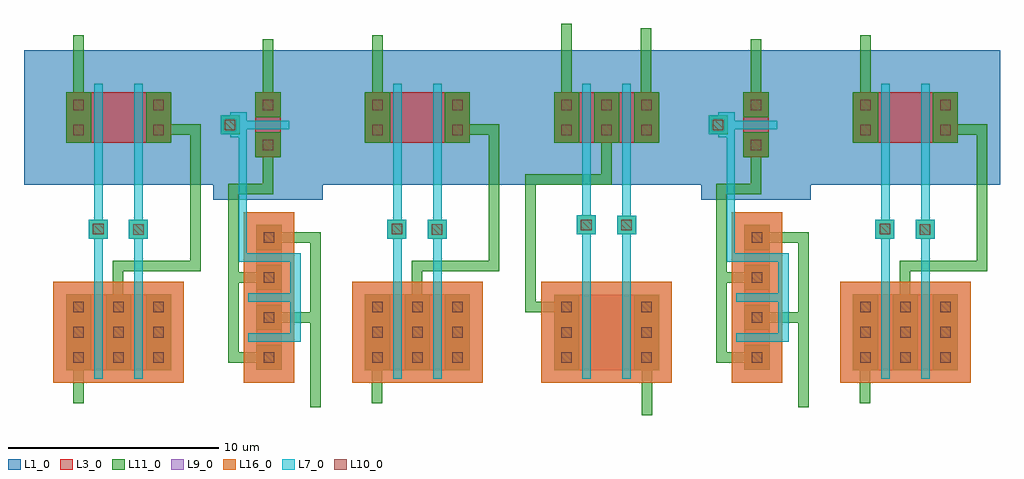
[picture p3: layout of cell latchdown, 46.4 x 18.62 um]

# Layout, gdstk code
from math import pi, radians
import gdstk
lib = gdstk.Library(unit=1e-6, precision=1e-09)
def R(c, l, rs):  # rectangles x0, y0, x1, y1
    for r in rs: c.add(gdstk.rectangle(r[:2], r[2:], *l))
L1_0 = (1, 0)
L3_0 = (3, 0)
L7_0 = (7, 0)
L9_0 = (9, 0)
L10_0 = (10, 0)
L11_0 = (11, 0)
L16_0 = (16, 0)

dcont = lib.new_cell('dcont')
R(dcont, L3_0, [(-0.6,-0.6,0.6,0.6)])
R(dcont, L10_0, [(-0.25,-0.25,0.25,0.25)])

nch_5 = lib.new_cell('Nch$5')
R(nch_5, L1_0, [(-2,-0.3,7,6.1)])
R(nch_5, L3_0, [(0,1.7,5,4.1)])
nch_5.add(gdstk.FlexPath([(0.6,1.7),(0.6,4.1)], 1.2, ends="flush", simple_path=True, layer=11, datatype=0))  # L11_0
nch_5.add(gdstk.FlexPath([(2.5,1.7),(2.5,4.1)], 1.2, ends="flush", simple_path=True, layer=11, datatype=0))  # L11_0
nch_5.add(gdstk.FlexPath([(4.4,1.7),(4.4,4.1)], 1.2, ends="flush", simple_path=True, layer=11, datatype=0))  # L11_0
nch_5.add(gdstk.FlexPath([(1.55,1.7),(1.55,4.1)], 0.4, ends=(0.4, 0.4), simple_path=True, layer=7, datatype=0))  # L7_0
nch_5.add(gdstk.FlexPath([(3.45,1.7),(3.45,4.1)], 0.4, ends=(0.4, 0.4), simple_path=True, layer=7, datatype=0))  # L7_0
nch_5.add(gdstk.Reference(dcont, (0.6,2.3)))
nch_5.add(gdstk.Reference(dcont, (0.6,3.5)))
nch_5.add(gdstk.Reference(dcont, (2.5,2.3)))
nch_5.add(gdstk.Reference(dcont, (2.5,3.5)))
nch_5.add(gdstk.Reference(dcont, (4.4,2.3)))
nch_5.add(gdstk.Reference(dcont, (4.4,3.5)))

pch_2 = lib.new_cell('Pch$2')
R(pch_2, L3_0, [(0,1.7,5,5.3)])
R(pch_2, L9_0, [(-0.6,1.1,5.6,5.9)])
R(pch_2, L16_0, [(-0.6,1.1,5.6,5.9)])
pch_2.add(gdstk.FlexPath([(0.6,1.7),(0.6,5.3)], 1.2, ends="flush", simple_path=True, layer=11, datatype=0))  # L11_0
pch_2.add(gdstk.FlexPath([(4.4,1.7),(4.4,5.3)], 1.2, ends="flush", simple_path=True, layer=11, datatype=0))  # L11_0
pch_2.add(gdstk.FlexPath([(1.55,1.7),(1.55,5.3)], 0.4, ends=(0.4, 0.4), simple_path=True, layer=7, datatype=0))  # L7_0
pch_2.add(gdstk.FlexPath([(3.45,1.7),(3.45,5.3)], 0.4, ends=(0.4, 0.4), simple_path=True, layer=7, datatype=0))  # L7_0
pch_2.add(gdstk.Reference(dcont, (0.6,2.3)))
pch_2.add(gdstk.Reference(dcont, (0.6,3.5)))
pch_2.add(gdstk.Reference(dcont, (0.6,4.7)))
pch_2.add(gdstk.Reference(dcont, (4.4,2.3)))
pch_2.add(gdstk.Reference(dcont, (4.4,3.5)))
pch_2.add(gdstk.Reference(dcont, (4.4,4.7)))

pcont_2 = lib.new_cell('pcont$2')
R(pcont_2, L7_0, [(-0.45,-0.45,0.45,0.45)])
R(pcont_2, L10_0, [(-0.25,-0.25,0.25,0.25)])
R(pcont_2, L11_0, [(-0.45,-0.45,0.45,0.45)])

nor2 = lib.new_cell('NOR2')
nor2.add(gdstk.FlexPath([(0.68,0.24),(0.68,2.33),(4.3,2.33),(4.3,8.41),(2.83,8.41)], 0.5, ends="flush", simple_path=True, layer=11, datatype=0))  # L11_0
nor2.add(gdstk.FlexPath([(-1.24,10.37),(-1.24,13.55)], 0.5, ends="flush", simple_path=True, layer=11, datatype=0))  # L11_0
nor2.add(gdstk.FlexPath([(2.58,-1.32),(2.58,-5.07)], 0.5, ends="flush", simple_path=True, layer=11, datatype=0))  # L11_0
nor2.add(gdstk.FlexPath([(-1.18,-1.3),(-1.18,-4.85)], 0.5, ends="flush", simple_path=True, layer=11, datatype=0))  # L11_0
nor2.add(gdstk.FlexPath([(-0.27,7.56),(-0.27,0.8),(-0.27,0.8),(-0.27,0.78)], 0.4, ends="flush", simple_path=True, layer=7, datatype=0))  # L7_0
nor2.add(gdstk.FlexPath([(1.63,7.62),(1.63,0.82)], 0.4, ends="flush", simple_path=True, layer=7, datatype=0))  # L7_0
nor2.add(gdstk.Reference(nch_5, (-1.82,-3.51)))
nor2.add(gdstk.Reference(pch_2, (-1.82,6.11)))
nor2.add(gdstk.Reference(pcont_2, (-0.27,4.5)))
nor2.add(gdstk.Reference(pcont_2, (1.65,4.49)))

pch_3 = lib.new_cell('Pch$3')
R(pch_3, L3_0, [(0,1.7,6.9,2.9)])
R(pch_3, L9_0, [(-0.6,1.1,7.5,3.5)])
R(pch_3, L16_0, [(-0.6,1.1,7.5,3.5)])
pch_3.add(gdstk.FlexPath([(0.6,1.7),(0.6,2.9)], 1.2, ends="flush", simple_path=True, layer=11, datatype=0))  # L11_0
pch_3.add(gdstk.FlexPath([(2.5,1.7),(2.5,2.9)], 1.2, ends="flush", simple_path=True, layer=11, datatype=0))  # L11_0
pch_3.add(gdstk.FlexPath([(4.4,1.7),(4.4,2.9)], 1.2, ends="flush", simple_path=True, layer=11, datatype=0))  # L11_0
pch_3.add(gdstk.FlexPath([(6.3,1.7),(6.3,2.9)], 1.2, ends="flush", simple_path=True, layer=11, datatype=0))  # L11_0
pch_3.add(gdstk.FlexPath([(0.6,2.4),(0.6,4)], 0.5, ends="flush", simple_path=True, layer=11, datatype=0))  # L11_0
pch_3.add(gdstk.FlexPath([(2.5,0.1),(2.5,2.2)], 0.5, ends="flush", simple_path=True, layer=11, datatype=0))  # L11_0
pch_3.add(gdstk.FlexPath([(4.4,2.4),(4.4,4)], 0.5, ends="flush", simple_path=True, layer=11, datatype=0))  # L11_0
pch_3.add(gdstk.FlexPath([(0.6,4),(4.4,4)], 0.5, ends="extended", simple_path=True, layer=11, datatype=0))  # L11_0
pch_3.add(gdstk.FlexPath([(6.3,0.1),(6.3,2.2)], 0.5, ends="flush", simple_path=True, layer=11, datatype=0))  # L11_0
pch_3.add(gdstk.FlexPath([(2.5,0.1),(6.3,0.1)], 0.5, ends="extended", simple_path=True, layer=11, datatype=0))  # L11_0
pch_3.add(gdstk.FlexPath([(1.55,1.7),(1.55,2.9)], 0.4, ends=(0.4, 0.4), simple_path=True, layer=7, datatype=0))  # L7_0
pch_3.add(gdstk.FlexPath([(3.45,1.7),(3.45,2.9)], 0.4, ends=(0.4, 0.4), simple_path=True, layer=7, datatype=0))  # L7_0
pch_3.add(gdstk.FlexPath([(5.35,1.7),(5.35,2.9)], 0.4, ends=(0.4, 0.4), simple_path=True, layer=7, datatype=0))  # L7_0
pch_3.add(gdstk.FlexPath([(1.35,1.05),(3.65,1.05)], 0.5, ends="flush", simple_path=True, layer=7, datatype=0))  # L7_0
pch_3.add(gdstk.FlexPath([(3.25,1.05),(5.55,1.05)], 0.5, ends="flush", simple_path=True, layer=7, datatype=0))  # L7_0
pch_3.add(gdstk.Reference(dcont, (0.6,2.3)))
pch_3.add(gdstk.Reference(dcont, (2.5,2.3)))
pch_3.add(gdstk.Reference(dcont, (4.4,2.3)))
pch_3.add(gdstk.Reference(dcont, (6.3,2.3)))

pcont = lib.new_cell('pcont')
R(pcont, L7_0, [(-0.45,-0.45,0.45,0.45)])
R(pcont, L10_0, [(-0.25,-0.25,0.25,0.25)])
R(pcont, L11_0, [(-0.45,-0.45,0.45,0.45)])

nch_3 = lib.new_cell('Nch$3')
R(nch_3, L1_0, [(-2,-0.3,5.1,4.9)])
R(nch_3, L3_0, [(0,1.7,3.1,2.9)])
nch_3.add(gdstk.FlexPath([(0.6,1.7),(0.6,2.9)], 1.2, ends="flush", simple_path=True, layer=11, datatype=0))  # L11_0
nch_3.add(gdstk.FlexPath([(2.5,1.7),(2.5,2.9)], 1.2, ends="flush", simple_path=True, layer=11, datatype=0))  # L11_0
nch_3.add(gdstk.FlexPath([(1.55,1.7),(1.55,2.9)], 0.4, ends=(0.4, 0.4), simple_path=True, layer=7, datatype=0))  # L7_0
nch_3.add(gdstk.FlexPath([(1.55,4.1),(1.55,3.3)], 1.2, ends="flush", simple_path=True, layer=7, datatype=0))  # L7_0
nch_3.add(gdstk.Reference(dcont, (0.6,2.3)))
nch_3.add(gdstk.Reference(dcont, (2.5,2.3)))
nch_3.add(gdstk.Reference(pcont, (1.55,4.1)))

nch_4 = lib.new_cell('Nch$4')
R(nch_4, L1_0, [(-2,-0.3,5.1,4.9)])
R(nch_4, L3_0, [(0,1.7,3.1,2.9)])
nch_4.add(gdstk.FlexPath([(0.6,1.7),(0.6,2.9)], 1.2, ends="flush", simple_path=True, layer=11, datatype=0))  # L11_0
nch_4.add(gdstk.FlexPath([(2.5,1.7),(2.5,2.9)], 1.2, ends="flush", simple_path=True, layer=11, datatype=0))  # L11_0
nch_4.add(gdstk.FlexPath([(1.55,1.7),(1.55,2.9)], 0.4, ends=(0.4, 0.4), simple_path=True, layer=7, datatype=0))  # L7_0
nch_4.add(gdstk.FlexPath([(1.55,4.1),(1.55,3.3)], 1.2, ends="flush", simple_path=True, layer=7, datatype=0))  # L7_0
nch_4.add(gdstk.Reference(dcont, (0.6,2.3)))
nch_4.add(gdstk.Reference(dcont, (2.5,2.3)))
nch_4.add(gdstk.Reference(pcont, (1.55,4.1)))

inv_citizen = lib.new_cell('INV_Citizen')
inv_citizen.add(gdstk.FlexPath([(39.59,1.53),(39.59,-1.6)], 0.5, ends="flush", simple_path=True, layer=11, datatype=0))  # L11_0
inv_citizen.add(gdstk.FlexPath([(41.24,9.73),(41.24,5.52),(39.59,5.52),(39.59,3.43)], 0.5, ends="flush", simple_path=True, layer=11, datatype=0))  # L11_0
inv_citizen.add(gdstk.FlexPath([(37.34,11.63),(37.34,15.91)], 0.5, ends="flush", simple_path=True, layer=11, datatype=0))  # L11_0
inv_citizen.add(gdstk.FlexPath([(40.14,8.78),(40.79,8.78),(40.79,2.68)], 0.4, ends="flush", simple_path=True, layer=7, datatype=0))  # L7_0
inv_citizen.add(gdstk.Reference(pch_3, (37.24,14.13), rotation=3*pi/2))
inv_citizen.add(gdstk.Reference(nch_3, (37.29,4.03), rotation=3*pi/2))
inv_citizen.add(gdstk.Reference(nch_4, (37.29,4.03), rotation=3*pi/2))

nch = lib.new_cell('Nch')
R(nch, L1_0, [(-2,-0.3,7,6.1)])
R(nch, L3_0, [(0,1.7,5,4.1)])
nch.add(gdstk.FlexPath([(0.6,1.7),(0.6,4.1)], 1.2, ends="flush", simple_path=True, layer=11, datatype=0))  # L11_0
nch.add(gdstk.FlexPath([(4.4,1.7),(4.4,4.1)], 1.2, ends="flush", simple_path=True, layer=11, datatype=0))  # L11_0
nch.add(gdstk.FlexPath([(1.55,1.7),(1.55,4.1)], 0.4, ends=(0.4, 0.4), simple_path=True, layer=7, datatype=0))  # L7_0
nch.add(gdstk.FlexPath([(3.45,1.7),(3.45,4.1)], 0.4, ends=(0.4, 0.4), simple_path=True, layer=7, datatype=0))  # L7_0
nch.add(gdstk.Reference(dcont, (0.6,2.3)))
nch.add(gdstk.Reference(dcont, (0.6,3.5)))
nch.add(gdstk.Reference(dcont, (4.4,2.3)))
nch.add(gdstk.Reference(dcont, (4.4,3.5)))

pch_1 = lib.new_cell('Pch$1')
R(pch_1, L3_0, [(0,1.7,5,5.3)])
R(pch_1, L9_0, [(-0.6,1.1,5.6,5.9)])
R(pch_1, L16_0, [(-0.6,1.1,5.6,5.9)])
pch_1.add(gdstk.FlexPath([(0.6,1.7),(0.6,5.3)], 1.2, ends="flush", simple_path=True, layer=11, datatype=0))  # L11_0
pch_1.add(gdstk.FlexPath([(2.5,1.7),(2.5,5.3)], 1.2, ends="flush", simple_path=True, layer=11, datatype=0))  # L11_0
pch_1.add(gdstk.FlexPath([(4.4,1.7),(4.4,5.3)], 1.2, ends="flush", simple_path=True, layer=11, datatype=0))  # L11_0
pch_1.add(gdstk.FlexPath([(1.55,1.7),(1.55,5.3)], 0.4, ends=(0.4, 0.4), simple_path=True, layer=7, datatype=0))  # L7_0
pch_1.add(gdstk.FlexPath([(3.45,1.7),(3.45,5.3)], 0.4, ends=(0.4, 0.4), simple_path=True, layer=7, datatype=0))  # L7_0
pch_1.add(gdstk.Reference(dcont, (0.6,2.3)))
pch_1.add(gdstk.Reference(dcont, (0.6,3.5)))
pch_1.add(gdstk.Reference(dcont, (0.6,4.7)))
pch_1.add(gdstk.Reference(dcont, (2.5,2.3)))
pch_1.add(gdstk.Reference(dcont, (2.5,3.5)))
pch_1.add(gdstk.Reference(dcont, (2.5,4.7)))
pch_1.add(gdstk.Reference(dcont, (4.4,2.3)))
pch_1.add(gdstk.Reference(dcont, (4.4,3.5)))
pch_1.add(gdstk.Reference(dcont, (4.4,4.7)))

nand2 = lib.new_cell('NAND2')
nand2.add(gdstk.FlexPath([(2.59,11.09),(2.59,13.04)], 0.5, ends="flush", simple_path=True, layer=11, datatype=0))  # L11_0
nand2.add(gdstk.FlexPath([(2.58,-0.89),(2.58,-4.46)], 0.5, ends="flush", simple_path=True, layer=11, datatype=0))  # L11_0
nand2.add(gdstk.FlexPath([(0.7,8.75),(0.7,6.51),(-2.97,6.51),(-2.97,0.04),(-1.23,0.04)], 0.5, ends="flush", simple_path=True, layer=11, datatype=0))  # L11_0
nand2.add(gdstk.FlexPath([(-0.27,7.87),(-0.27,0.66)], 0.4, ends="flush", simple_path=True, layer=7, datatype=0))  # L7_0
nand2.add(gdstk.FlexPath([(1.63,0.66),(1.63,7.85),(1.63,7.85),(1.63,7.85)], 0.4, ends="flush", simple_path=True, layer=7, datatype=0))  # L7_0
nand2.add(gdstk.Reference(pcont_2, (1.65,4.77)))
nand2.add(gdstk.Reference(pcont_2, (-0.26,4.78)))
nand2.add(gdstk.Reference(nch, (-1.82,-3.44)))
nand2.add(gdstk.Reference(pch_1, (-1.82,6.17)))

latchdown = lib.new_cell('latchdown')
latchdown.add(gdstk.Reference(nor2, (68.32,48.68), rotation=pi))
latchdown.add(gdstk.Reference(inv_citizen, (91.13,51.42), rotation=pi))
latchdown.add(gdstk.Reference(nand2, (59.32,48.75), rotation=pi))
latchdown.add(gdstk.Reference(nand2, (45.12,48.75), rotation=pi))
latchdown.add(gdstk.Reference(inv_citizen, (114.33,51.42), rotation=pi))
latchdown.add(gdstk.Reference(nand2, (82.52,48.75), rotation=pi))

lib.write_gds('latchdown.gds')
